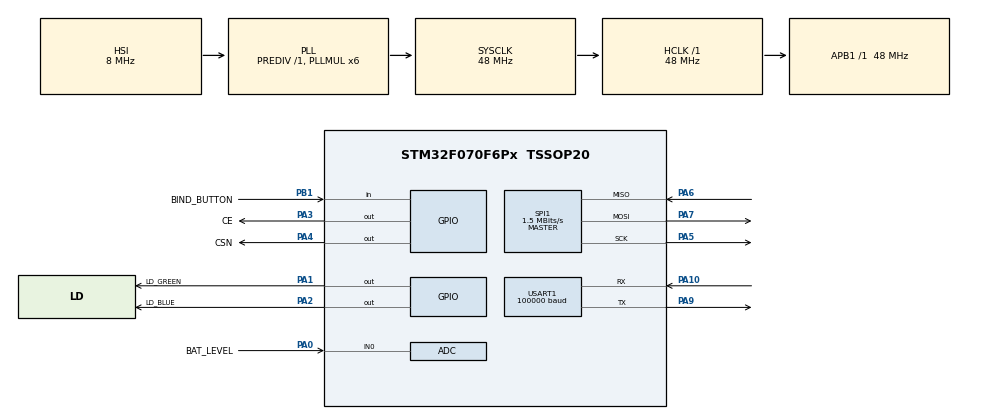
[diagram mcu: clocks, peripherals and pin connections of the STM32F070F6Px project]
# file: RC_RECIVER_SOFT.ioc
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ADC.ContinuousConvMode=ENABLE
ADC.SamplingTime=ADC_SAMPLETIME_239CYCLES_5
Dma.ADC.0.Direction=DMA_PERIPH_TO_MEMORY
Dma.ADC.0.Instance=DMA1_Channel1
Dma.ADC.0.MemDataAlignment=DMA_MDATAALIGN_HALFWORD
Dma.ADC.0.MemInc=DMA_MINC_ENABLE
Dma.ADC.0.Mode=DMA_CIRCULAR
Dma.ADC.0.PeriphDataAlignment=DMA_PDATAALIGN_HALFWORD
Dma.ADC.0.PeriphInc=DMA_PINC_DISABLE
Dma.ADC.0.Priority=DMA_PRIORITY_LOW
Dma.Request0=ADC
Mcu.Family=STM32F0
Mcu.Name=STM32F070F6Px
Mcu.Package=TSSOP20
NVIC.DMA1_Channel1_IRQn=true\:0\:0\:false\:false\:true\:false\:true
NVIC.TIM14_IRQn=true\:0\:0\:false\:false\:true\:true\:true
NVIC.USART1_IRQn=true\:0\:0\:false\:false\:true\:true\:true
PA0.GPIO_Label=BAT_LEVEL
PA0.Mode=IN0
PA0.Signal=ADC_IN0
PA1.GPIO_Label=LD_GREEN
PA1.Signal=GPIO_Output
PA10.Mode=Asynchronous
PA10.Signal=USART1_RX
PA13.Mode=Serial_Wire
PA13.Signal=SYS_SWDIO
PA14.Mode=Serial_Wire
PA14.Signal=SYS_SWCLK
PA2.GPIO_Label=LD_BLUE
PA2.Signal=GPIO_Output
PA3.GPIO_Label=CE
PA3.Signal=GPIO_Output
PA4.GPIO_Label=CSN
PA4.Signal=GPIO_Output
PA5.Mode=Full_Duplex_Master
PA5.Signal=SPI1_SCK
PA6.Mode=Full_Duplex_Master
PA6.Signal=SPI1_MISO
PA7.Mode=Full_Duplex_Master
PA7.Signal=SPI1_MOSI
PA9.Mode=Asynchronous
PA9.Signal=USART1_TX
PB1.GPIO_Label=BIND_BUTTON
PB1.Signal=GPIO_Input
PF0-OSC_IN.Mode=HSE-External-Oscillator
PF0-OSC_IN.Signal=RCC_OSC_IN
PF1-OSC_OUT.Mode=HSE-External-Oscillator
PF1-OSC_OUT.Signal=RCC_OSC_OUT
ProjectManager.HeapSize=0x200
ProjectManager.StackSize=0x400
ProjectManager.TargetToolchain=TrueSTUDIO
RCC.AHBFreq_Value=48000000
RCC.APB1Freq_Value=48000000
RCC.APB1TimFreq_Value=48000000
RCC.HCLKFreq_Value=48000000
RCC.HSE_VALUE=16000000
RCC.PLLMUL=RCC_PLL_MUL6
RCC.SYSCLKFreq_VALUE=48000000
RCC.SYSCLKSource=RCC_SYSCLKSOURCE_PLLCLK
SPI1.BaudRatePrescaler=SPI_BAUDRATEPRESCALER_32
SPI1.CalculateBaudRate=1.5 MBits/s
SPI1.DataSize=SPI_DATASIZE_8BIT
SPI1.Direction=SPI_DIRECTION_2LINES
SPI1.Mode=SPI_MODE_MASTER
SPI1.VirtualType=VM_MASTER
TIM14.Period=999
TIM14.Prescaler=47
USART1.BaudRate=100000
USART1.Parity=PARITY_EVEN
USART1.RxPinLevelInvertParam=ADVFEATURE_RXINV_ENABLE
USART1.StopBits=STOPBITS_2
USART1.TxPinLevelInvertParam=ADVFEATURE_TXINV_ENABLE
USART1.VirtualMode=VM_ASYNC
USART1.WordLength=WORDLENGTH_9B
VP_TIM14_VS_ClockSourceINT.Mode=Enable_Timer
board=custom

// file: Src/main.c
/* USER CODE BEGIN Header */
/**
 ******************************************************************************
 * @file           : main.c
 * @brief          : Main program body
 ******************************************************************************
 * @attention
 *
 * <h2><center>&copy; Copyright (c) 2020 STMicroelectronics.
 * All rights reserved.</center></h2>
 *
 * This software component is licensed by ST under BSD 3-Clause license,
 * the "License"; You may not use this file except in compliance with the
 * License. You may obtain a copy of the License at:
 *                        opensource.org/licenses/BSD-3-Clause
 *
 ******************************************************************************
 */
/* USER CODE END Header */
#include "main.h"

/* USER CODE BEGIN Includes */
//STANDARD LIBARY
#include <string.h>
#include <stdio.h>
//NRF24
#include "nrf.h"
//SBUS
#include "sbus.h"
//RC_RECIVER FUNCTIONALITY
#include "rc_reciver.h"

#include "binding.h"

/* USER CODE END Includes */

/* USER CODE BEGIN PTD */

//TO DO
/*
 * [] move some functions to common
 * [] add binding via uart
 * [x] add multiple uart config depending on mode
 * [] update led blinks to be less irritating/ more meaningful
 *
 * [x] add CRC check for controler
 * [] add auto ack
 *

 * */

//TO DO - to move to common
typedef struct {
	uint16_t interval; /* How often to call the task */
	void (*proc)(void); /* pointer to function returning void */
} timed_task_t;

/* USER CODE END PTD */

ADC_HandleTypeDef hadc;
DMA_HandleTypeDef hdma_adc;

SPI_HandleTypeDef hspi1;

TIM_HandleTypeDef htim14;

UART_HandleTypeDef huart1;

/* USER CODE BEGIN PV */

//NRF Settings struct
NRF24_InitStruct nrf24_config;

//Main struct for containig rc_reciver status
ReciverStatus reciver_status;

uint16_t adcData;

volatile uint8_t one_ms_tick;
volatile uint16_t ms_elapsed;
//uint32_t frames_recived = 0;

/* USER CODE END PV */

void SystemClock_Config(void);
static void MX_GPIO_Init(void);
static void MX_DMA_Init(void);
static void MX_ADC_Init(void);
static void MX_SPI1_Init(void);
static void MX_USART1_UART_Init(void);
static void MX_TIM14_Init(void);
/* USER CODE BEGIN PFP */
static void USART1_Init_Binding_Mode(void);
//MAIN TASKS
void read_nrf_data();
void led_update();
void send_sbus_frame();

/* USER CODE END PFP */

int main(void)
{

  /* MCU Configuration--------------------------------------------------------*/

  /* Reset of all peripherals, Initializes the Flash interface and the Systick. */
  HAL_Init();

  /* Configure the system clock */
  SystemClock_Config();

  /* Initialize all configured peripherals */
  MX_GPIO_Init();
  MX_DMA_Init();
  MX_ADC_Init();
  MX_SPI1_Init();
  MX_USART1_UART_Init();
  MX_TIM14_Init();
  /* USER CODE BEGIN 2 */

	//CHECK IF ENTER TO BINDING MODE OR NOT DEPENDING OD BUTTON STATE
	HAL_Delay(500);

	if (!HAL_GPIO_ReadPin(BIND_BUTTON_GPIO_Port, BIND_BUTTON_Pin)) //if button pressed enter to binding mode
	{
		set_reciver_binding_mode();
		confirm_binding_mode();
		HAL_UART_Receive_IT(&huart1,reciver_status.bindnig_data_rx,8);
	}
	else
	{
		set_reciver_normal_mode();

	}

	//HAL SPECIFIC START UP ROUTINES
	HAL_TIM_Base_Start_IT(&htim14);
	HAL_ADC_Start_DMA(&hadc, (uint32_t *) &adcData, 1);

	//helpful variable to contain pointer to tasks
	const timed_task_t *pointer_to_task;

	static const timed_task_t timed_task[] =
			{
					{ 250, led_update },
					{ 3, read_nrf_data },
					{ 14, send_sbus_frame },
					{ 0, NULL }
			};

	if (reciver_status.mode == BIND_MODE)
	{

		// Set proper UART parameters
		USART1_Init_Binding_Mode();

		bind_event_reciver();

		//After binding change mode to normal
		set_reciver_normal_mode();

	}

	if (reciver_status.mode == NORMAL_MODE)
	{

		init_NRF24_sytem_mebmer(&nrf24_config);

	}

  /* USER CODE END 2 */

  /* Infinite loop */
	while (1)
	{

    /* USER CODE BEGIN 3 */

		if (one_ms_tick)
		{
			one_ms_tick = 0;

			ms_elapsed++;
			if (ms_elapsed > 1000)
			{
				ms_elapsed = 1;

			}

			for (pointer_to_task = timed_task; pointer_to_task->interval != 0;
					pointer_to_task++)
			{

				if (!(ms_elapsed % pointer_to_task->interval))
				{

					(pointer_to_task->proc)();
				}

			}

		}

	}

  /* USER CODE END 3 */
}

void SystemClock_Config(void)
{
  RCC_OscInitTypeDef RCC_OscInitStruct = {0};
  RCC_ClkInitTypeDef RCC_ClkInitStruct = {0};
  RCC_PeriphCLKInitTypeDef PeriphClkInit = {0};

  /** Initializes the RCC Oscillators according to the specified parameters
  * in the RCC_OscInitTypeDef structure.
  */
  RCC_OscInitStruct.OscillatorType = RCC_OSCILLATORTYPE_HSI|RCC_OSCILLATORTYPE_HSI14;
  RCC_OscInitStruct.HSIState = RCC_HSI_ON;
  RCC_OscInitStruct.HSI14State = RCC_HSI14_ON;
  RCC_OscInitStruct.HSICalibrationValue = RCC_HSICALIBRATION_DEFAULT;
  RCC_OscInitStruct.HSI14CalibrationValue = 16;
  RCC_OscInitStruct.PLL.PLLState = RCC_PLL_ON;
  RCC_OscInitStruct.PLL.PLLSource = RCC_PLLSOURCE_HSI;
  RCC_OscInitStruct.PLL.PLLMUL = RCC_PLL_MUL6;
  RCC_OscInitStruct.PLL.PREDIV = RCC_PREDIV_DIV1;
  if (HAL_RCC_OscConfig(&RCC_OscInitStruct) != HAL_OK)
  {
    Error_Handler();
  }
  /** Initializes the CPU, AHB and APB buses clocks
  */
  RCC_ClkInitStruct.ClockType = RCC_CLOCKTYPE_HCLK|RCC_CLOCKTYPE_SYSCLK
                              |RCC_CLOCKTYPE_PCLK1;
  RCC_ClkInitStruct.SYSCLKSource = RCC_SYSCLKSOURCE_PLLCLK;
  RCC_ClkInitStruct.AHBCLKDivider = RCC_SYSCLK_DIV1;
  RCC_ClkInitStruct.APB1CLKDivider = RCC_HCLK_DIV1;

  if (HAL_RCC_ClockConfig(&RCC_ClkInitStruct, FLASH_LATENCY_1) != HAL_OK)
  {
    Error_Handler();
  }
  PeriphClkInit.PeriphClockSelection = RCC_PERIPHCLK_USART1;
  PeriphClkInit.Usart1ClockSelection = RCC_USART1CLKSOURCE_PCLK1;
  if (HAL_RCCEx_PeriphCLKConfig(&PeriphClkInit) != HAL_OK)
  {
    Error_Handler();
  }
}

static void MX_ADC_Init(void)
{

  ADC_ChannelConfTypeDef sConfig = {0};

  /** Configure the global features of the ADC (Clock, Resolution, Data Alignment and number of conversion)
  */
  hadc.Instance = ADC1;
  hadc.Init.ClockPrescaler = ADC_CLOCK_ASYNC_DIV1;
  hadc.Init.Resolution = ADC_RESOLUTION_12B;
  hadc.Init.DataAlign = ADC_DATAALIGN_RIGHT;
  hadc.Init.ScanConvMode = ADC_SCAN_DIRECTION_FORWARD;
  hadc.Init.EOCSelection = ADC_EOC_SINGLE_CONV;
  hadc.Init.LowPowerAutoWait = DISABLE;
  hadc.Init.LowPowerAutoPowerOff = DISABLE;
  hadc.Init.ContinuousConvMode = ENABLE;
  hadc.Init.DiscontinuousConvMode = DISABLE;
  hadc.Init.ExternalTrigConv = ADC_SOFTWARE_START;
  hadc.Init.ExternalTrigConvEdge = ADC_EXTERNALTRIGCONVEDGE_NONE;
  hadc.Init.DMAContinuousRequests = DISABLE;
  hadc.Init.Overrun = ADC_OVR_DATA_PRESERVED;
  if (HAL_ADC_Init(&hadc) != HAL_OK)
  {
    Error_Handler();
  }
  /** Configure for the selected ADC regular channel to be converted.
  */
  sConfig.Channel = ADC_CHANNEL_0;
  sConfig.Rank = ADC_RANK_CHANNEL_NUMBER;
  sConfig.SamplingTime = ADC_SAMPLETIME_239CYCLES_5;
  if (HAL_ADC_ConfigChannel(&hadc, &sConfig) != HAL_OK)
  {
    Error_Handler();
  }

}

static void MX_SPI1_Init(void)
{

  /* SPI1 parameter configuration*/
  hspi1.Instance = SPI1;
  hspi1.Init.Mode = SPI_MODE_MASTER;
  hspi1.Init.Direction = SPI_DIRECTION_2LINES;
  hspi1.Init.DataSize = SPI_DATASIZE_8BIT;
  hspi1.Init.CLKPolarity = SPI_POLARITY_LOW;
  hspi1.Init.CLKPhase = SPI_PHASE_1EDGE;
  hspi1.Init.NSS = SPI_NSS_SOFT;
  hspi1.Init.BaudRatePrescaler = SPI_BAUDRATEPRESCALER_32;
  hspi1.Init.FirstBit = SPI_FIRSTBIT_MSB;
  hspi1.Init.TIMode = SPI_TIMODE_DISABLE;
  hspi1.Init.CRCCalculation = SPI_CRCCALCULATION_DISABLE;
  hspi1.Init.CRCPolynomial = 7;
  hspi1.Init.CRCLength = SPI_CRC_LENGTH_DATASIZE;
  hspi1.Init.NSSPMode = SPI_NSS_PULSE_ENABLE;
  if (HAL_SPI_Init(&hspi1) != HAL_OK)
  {
    Error_Handler();
  }

}

static void MX_TIM14_Init(void)
{

  htim14.Instance = TIM14;
  htim14.Init.Prescaler = 47;
  htim14.Init.CounterMode = TIM_COUNTERMODE_UP;
  htim14.Init.Period = 999;
  htim14.Init.ClockDivision = TIM_CLOCKDIVISION_DIV1;
  htim14.Init.AutoReloadPreload = TIM_AUTORELOAD_PRELOAD_DISABLE;
  if (HAL_TIM_Base_Init(&htim14) != HAL_OK)
  {
    Error_Handler();
  }

}

static void MX_USART1_UART_Init(void)
{

  huart1.Instance = USART1;
  huart1.Init.BaudRate = 100000;
  huart1.Init.WordLength = UART_WORDLENGTH_9B;
  huart1.Init.StopBits = UART_STOPBITS_2;
  huart1.Init.Parity = UART_PARITY_EVEN;
  huart1.Init.Mode = UART_MODE_TX_RX;
  huart1.Init.HwFlowCtl = UART_HWCONTROL_NONE;
  huart1.Init.OverSampling = UART_OVERSAMPLING_16;
  huart1.Init.OneBitSampling = UART_ONE_BIT_SAMPLE_DISABLE;
  huart1.AdvancedInit.AdvFeatureInit = UART_ADVFEATURE_TXINVERT_INIT|UART_ADVFEATURE_RXINVERT_INIT;
  huart1.AdvancedInit.TxPinLevelInvert = UART_ADVFEATURE_TXINV_ENABLE;
  huart1.AdvancedInit.RxPinLevelInvert = UART_ADVFEATURE_RXINV_ENABLE;
  if (HAL_UART_Init(&huart1) != HAL_OK)
  {
    Error_Handler();
  }

}

static void MX_DMA_Init(void)
{

  /* DMA controller clock enable */
  __HAL_RCC_DMA1_CLK_ENABLE();

  /* DMA interrupt init */
  /* DMA1_Channel1_IRQn interrupt configuration */
  HAL_NVIC_SetPriority(DMA1_Channel1_IRQn, 0, 0);
  HAL_NVIC_EnableIRQ(DMA1_Channel1_IRQn);

}

static void MX_GPIO_Init(void)
{
  GPIO_InitTypeDef GPIO_InitStruct = {0};

  /* GPIO Ports Clock Enable */
  __HAL_RCC_GPIOF_CLK_ENABLE();
  __HAL_RCC_GPIOA_CLK_ENABLE();
  __HAL_RCC_GPIOB_CLK_ENABLE();

  /*Configure GPIO pin Output Level */
  HAL_GPIO_WritePin(GPIOA, LD_GREEN_Pin|LD_BLUE_Pin|CE_Pin|CSN_Pin, GPIO_PIN_RESET);

  /*Configure GPIO pins : LD_GREEN_Pin LD_BLUE_Pin CE_Pin CSN_Pin */
  GPIO_InitStruct.Pin = LD_GREEN_Pin|LD_BLUE_Pin|CE_Pin|CSN_Pin;
  GPIO_InitStruct.Mode = GPIO_MODE_OUTPUT_PP;
  GPIO_InitStruct.Pull = GPIO_NOPULL;
  GPIO_InitStruct.Speed = GPIO_SPEED_FREQ_LOW;
  HAL_GPIO_Init(GPIOA, &GPIO_InitStruct);

  /*Configure GPIO pin : BIND_BUTTON_Pin */
  GPIO_InitStruct.Pin = BIND_BUTTON_Pin;
  GPIO_InitStruct.Mode = GPIO_MODE_INPUT;
  GPIO_InitStruct.Pull = GPIO_NOPULL;
  HAL_GPIO_Init(BIND_BUTTON_GPIO_Port, &GPIO_InitStruct);

}

/* USER CODE BEGIN 4 */

static void USART1_Init_Binding_Mode(void) {

	HAL_UART_DeInit(&huart1);

	huart1.Instance = USART1;
	huart1.Init.BaudRate = 100000;
	huart1.Init.WordLength = UART_WORDLENGTH_9B;
	huart1.Init.StopBits = UART_STOPBITS_2;
	huart1.Init.Parity = UART_PARITY_EVEN;
	huart1.Init.Mode = UART_MODE_TX_RX;
	huart1.Init.HwFlowCtl = UART_HWCONTROL_NONE;
	huart1.Init.OverSampling = UART_OVERSAMPLING_16;
	huart1.Init.OneBitSampling = UART_ONE_BIT_SAMPLE_DISABLE;

	huart1.AdvancedInit.AdvFeatureInit = UART_ADVFEATURE_NO_INIT;

	if (HAL_UART_Init(&huart1) != HAL_OK)
	{
		Error_Handler();
	}

}

void HAL_TIM_PeriodElapsedCallback(TIM_HandleTypeDef *htim) {

	one_ms_tick = 1;

}
//printf redirection
int _write(int fd, char *str, int len) {

	HAL_UART_Transmit(&huart1, (uint8_t *) str, len, 10);
	return len;
}

//MAIN TASKS
void led_update() {
	static uint8_t blink_count = 0;
	blink_count++;
	if (blink_count > 4)
	{
		blink_count = 0;
		HAL_GPIO_WritePin(LD_GREEN_GPIO_Port, LD_GREEN_Pin, SET);
	}
	else
		HAL_GPIO_WritePin(LD_GREEN_GPIO_Port, LD_GREEN_Pin, RESET);

//	HAL_GPIO_WritePin(LD_GREEN_GPIO_Port, LD_GREEN_Pin, HAL_GPIO_ReadPin(BIND_BUTTON_GPIO_Port,BIND_BUTTON_Pin));
//	HAL_GPIO_TogglePin(LD_GREEN_GPIO_Port, LD_GREEN_Pin);

}
void send_sbus_frame() {

	HAL_UART_Transmit_IT(&huart1, reciver_status.sbus_transmition_frame, 25);

}

void read_nrf_data() {

	if (NRF24_available())
	{
		NRF24_read(reciver_status.raw_rx_data, 32);
		reciver_status.frames_recived++;

		if (!(reciver_status.raw_rx_data[2] > 2000 && reciver_status.raw_rx_data[3] > 2000)) //to update and add CRC
		{
			// write sbus data
			parse_sbus_data(reciver_status.raw_rx_data,
					reciver_status.sbus_transmition_frame);
		}

		HAL_GPIO_TogglePin(LD_BLUE_GPIO_Port, LD_BLUE_Pin);

	}
//	else
//		printf("No data\r\n");
}

void HAL_UART_RxCpltCallback(UART_HandleTypeDef *huart) {

		HAL_GPIO_TogglePin(LD_BLUE_GPIO_Port,LD_BLUE_Pin);

}

/* USER CODE END 4 */

void Error_Handler(void)
{
  /* USER CODE BEGIN Error_Handler_Debug */
	/* User can add his own implementation to report the HAL error return state */
	while (true)
	{
		HAL_GPIO_TogglePin(LD_GREEN_GPIO_Port, LD_GREEN_Pin);
		HAL_Delay(70);
	}
  /* USER CODE END Error_Handler_Debug */
}

/************************ (C) COPYRIGHT STMicroelectronics *****END OF FILE****/
